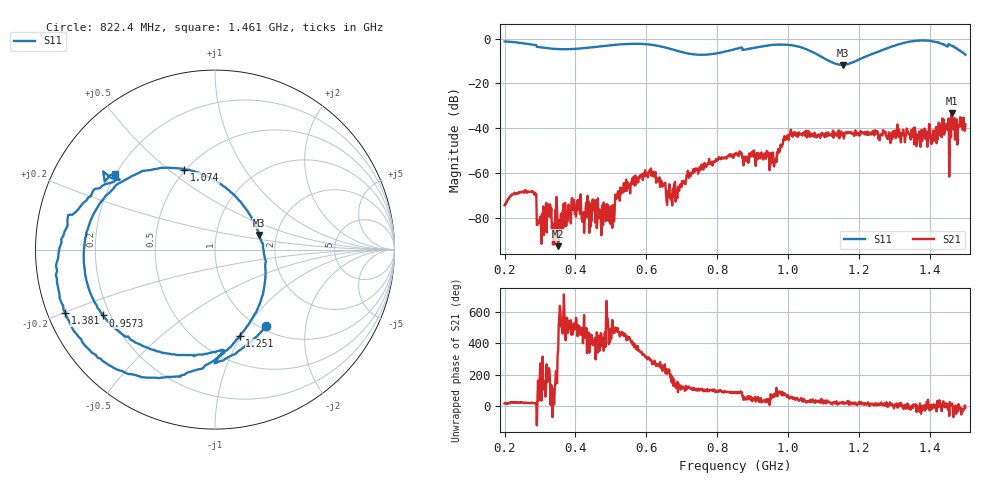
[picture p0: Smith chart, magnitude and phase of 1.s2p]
! NanoVNA-App
! Date: 2024-06-25 16:51:01
! Start: 200MHz Stop: 1.5GHz Points: 801
! S-Parameter data: F S11 S21 S12 S22
# Hz S RI R 50
!  Frequency  S11_Real  S11_Imag  S21_Real  S21_Imag  S12_Real  S12_Imag  S22_Real  S22_Imag
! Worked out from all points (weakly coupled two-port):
!   801 points, 200 MHz to 1.5 GHz, reference 50 ohm
!   highest |S21| = -33.32 dB at 1.461 GHz (marker M1); lowest = -92.5 dB at 351.1 MHz (marker M2)
!   lowest |S11| = -11.7 dB at 1.154 GHz (marker M3), VSWR 1.70, Z = 81.1 + j14.3 ohm
!   |S11| at or under -10 dB: 1.116 GHz to 1.191 GHz (74.72 MHz wide, 6.48 % of centre)
!   S12 and S22 are empty: the file has one direction only
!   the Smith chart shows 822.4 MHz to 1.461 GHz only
!   S11 on the Smith chart (normalised r, x): 822.4 MHz: 1.06, -1.23; 957.2 MHz: 0.17, -0.26; 1.074 GHz: 0.49, +0.57; 1.251 GHz: 0.77, -0.99; 1.381 GHz: 0.05, -0.20; 1.461 GHz: 0.20, +0.32
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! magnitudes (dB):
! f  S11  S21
! 200 MHz  -1.3  -74.3
! 274.8 MHz  -2.6  -68.2
! 297.5 MHz  -3.8  -82.3
! 351.1 MHz  -4.7  -92.5
! 417.8 MHz  -4.3  -80.3
! 499 MHz  -3.0  -82.7
! 562.4 MHz  -2.3  -64.8
! 612.8 MHz  -2.7  -57.9
! 633.9 MHz  -3.3  -63.0
! 663.1 MHz  -4.4  -68.6
! 822.4 MHz  -5.8  -52.9
! 850 MHz  -4.7  -51.8
! 957.2 MHz  -2.8  -50.8
! 1.003 GHz  -2.8  -42.9
! 1.068 GHz  -5.9  -43.3
! 1.074 GHz  -6.4  -41.9
! 1.154 GHz  -11.7  -42.8
! 1.251 GHz  -6.0  -41.2
! 1.284 GHz  -4.0  -41.8
! 1.381 GHz  -0.9  -43.8
! 1.461 GHz  -3.2  -33.3
! 1.5 GHz  -7.2  -38.3
